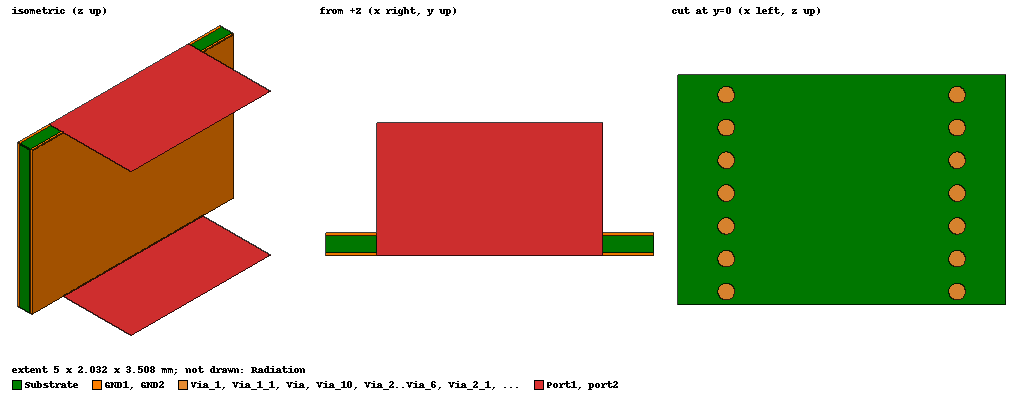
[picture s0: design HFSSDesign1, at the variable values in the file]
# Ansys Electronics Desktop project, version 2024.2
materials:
  vacuum: permittivity=1
  Rogers RO3003 (tm): permittivity=3 dielectric_loss_tangent=0.0013
  Rogers RT/duroid 5880 (tm): permittivity=2.2 dielectric_loss_tangent=0.0009
  copper: permeability=0.999991 conductivity=58000000
  Rogers TMM 10i (tm): permittivity=9.8 dielectric_loss_tangent=0.002

design HFSSDesign1 (HFSS, HFSS Modal Network, model units mm)
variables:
  sa = 5mm
  L = 3.508mm
  sb = 0.254mm
  th = 0.05mm
  position = 3.52mm
  portsize = 3.45mm
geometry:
  Substrate [Rogers TMM 10i (tm)] = box(corner=(-sa/2, -sb/2, 0mm), size=(sa, sb, L))
  GND1 [copper] = box(corner=(-sa/2, -sb/2 - th, 0mm), size=(sa, th, L))
  GND2 [copper] = box(corner=(-sa/2, sb/2, 0mm), size=(sa, th, L))
  Via [copper] = cylinder(axis=Y, base_centre=(-position/2, -sb/2, 0.2mm), radius=sb/2, height=sb)
  Via_1..Via_6 [copper] = Via.duplicate_along_line(step=(0mm, 0mm, 0.5mm), total=10)  # copies kept: 1..6
  Via_10 [copper] = Via.duplicate_mirror(point=(0mm, 0mm, 0mm), normal=(1mm, 0mm, 0mm))
  Via_1_1 [copper] = Via_1.duplicate_mirror(point=(0mm, 0mm, 0mm), normal=(1mm, 0mm, 0mm))
  Via_2_1 [copper] = Via_2.duplicate_mirror(point=(0mm, 0mm, 0mm), normal=(1mm, 0mm, 0mm))
  Via_3_1 [copper] = Via_3.duplicate_mirror(point=(0mm, 0mm, 0mm), normal=(1mm, 0mm, 0mm))
  Via_4_1 [copper] = Via_4.duplicate_mirror(point=(0mm, 0mm, 0mm), normal=(1mm, 0mm, 0mm))
  Via_5_1 [copper] = Via_5.duplicate_mirror(point=(0mm, 0mm, 0mm), normal=(1mm, 0mm, 0mm))
  Via_6_1 [copper] = Via_6.duplicate_mirror(point=(0mm, 0mm, 0mm), normal=(1mm, 0mm, 0mm))
  Radiation [vacuum] = box(corner=(-sa/2 - 5mm, -sb/2 -5mm, 0mm), size=(sa +10mm, sb +10mm, L))
  Port1 = rectangle(corner=(-portsize/2, -sb/2 -0.05mm, 0mm), x_size=portsize, y_size=sb*8)
  port2 = rectangle(corner=(-portsize/2, -sb/2 -0.05mm, L), x_size=portsize, y_size=sb*8)
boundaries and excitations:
  Rad1: Radiation Objects=Radiation
  1: Lumped Port Objects=Port1 LumpedPortType=Default Modes{Mode1{IntLine{(0, -0.177, 0) -> (0, 1.855, 0)} CharImp=Zpi}} Impedance=50ohm
  2: Lumped Port Objects=port2 LumpedPortType=Default Modes{Mode1{IntLine{(0, -0.177, 3.508) -> (0, 1.855, 3.508)} CharImp=Zpi}} Impedance=50ohm
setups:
  Setup1: HfssDriven Frequency=43GHz MaxDeltaS=0.02 MaximumPasses=12 MinimumPasses=1 MinimumConvergedPasses=1 PercentRefinement=30 BasisOrder=1 PortAccuracy=2 DrivenSolverType="Direct Solver"
    sweep Sweep: 13GHz to 60GHz step 0.5GHz; Type=Fast SaveFields
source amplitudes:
  1:1: 1W 0deg
  2:1: 0W 0deg
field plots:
  Mag_E1: E Field in Substrate on Setup1 : Sweep at Freq=25GHz Phase=0deg
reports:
  Gamma Plot 1: im(Gamma(1:1)), im(Gamma(1:2)), im(Gamma(1:3)) vs Freq on Setup1 : Sweep [portsize=all]
  Gamma Plot 2: re(Gamma(1:1)), re(Gamma(1:2)), re(Gamma(1:3)) vs Freq on Setup1 : Sweep [L=all portsize=all]
  S Parameter Plot 1: dB(S(1:1,2:1)), dB(S(1:2,2:2)), dB(S(1:3,2:3)) vs Freq on Setup1 : Sweep [L=all portsize=all]
  S Parameter Plot 2: dB(S(1,1)), dB(S(2,1)) vs Freq on Setup1 : Sweep
  Gamma Plot 3: re(Gamma(1)), re(Gamma(2)) vs Freq on Setup1 : Sweep
